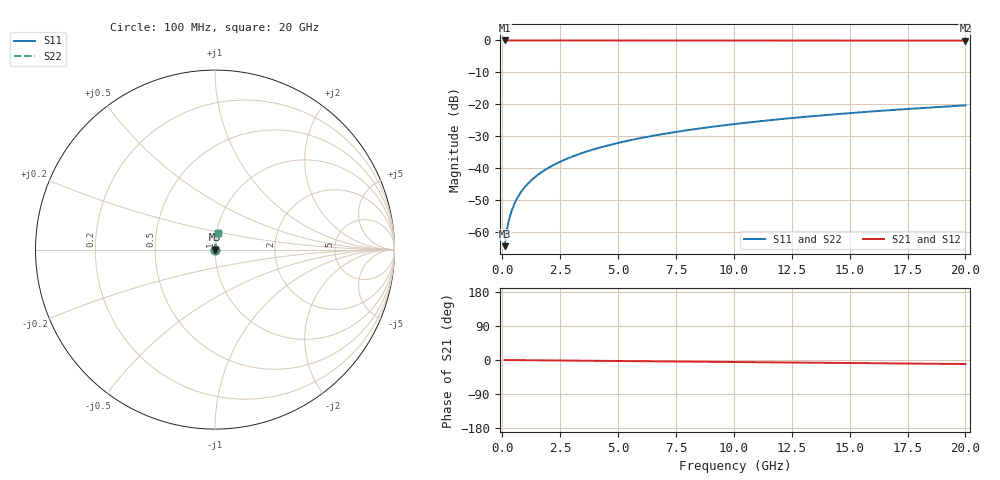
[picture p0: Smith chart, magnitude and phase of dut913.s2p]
! Touchstone file exported from HFSS 2026.1.0
!  File:  C:/ffzhzh/LocalFiles/Ansys_Project_Files/temp_train_TSV_913_1783186446_43440.aedt
!  Generated:  01:35:57 AM Jul  5, 2026
!  Design:  TSV
!  Project:  temp_train_TSV_913_1783186446_43440
! Variables:
!  h_bsmrdl = 2um
!  h_ox = 20um
!  h_rdl = 5um
!  h_sub = 85.38um
!  h_tmrdl = 5um
!  h_tsv = 85.38um
!  h_via = 3um
!  l_bsmrdl = 300um
!  l_sub = 412.72um
!  l_tmrdl = 200um
!  m_sub = 200um
!  pitch = 59.65um
!  r_tsv = 6.36um
!  s_tmrdl = 10um
!  w_bsmrdl = 18um
!  w_sub = 500um
!  w_tmrdl = 12um
!  x_tsv_center1 = 206um
!  x_tsv_center2 = 524um
!  x_tsv_center3 = 736um
!  x_tsv_center4 = 1054um
!  x_tsv_center5 = 1266um
!  x_tsv_center6 = 1584um
# GHz S MA R 50.000000
! Terminal data exported
! Port[1] = TSV1_1_T1
! Port[2] = TSV1_1_T2
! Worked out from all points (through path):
!   200 points, 100 MHz to 20 GHz, reference 50 ohm
!   highest |S21| = 0.00 dB at 100 MHz (marker M1); lowest = -0.1 dB at 20 GHz (marker M2)
!   group delay of S21, straight-line fit = 1.47 ps
!   lowest |S11| = -64.5 dB at 100 MHz (marker M3), VSWR 1.00, Z = 50 + j0.0527 ohm
!   |S11| at or under -10 dB: start of sweep to end of sweep
!   |S22| runs from -64.5 to -20.4 dB; largest |S21 - S12| = 5.2e-15
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0.1  0.0005939 62.5  0.9997 -0.1  0.9997 -0.1  0.0005939 62.5
! Gamma 0 0 0 0
! Port Impedance 50 0 50 0
0.2  0.00109 74.9  0.9997 -0.1  0.9997 -0.1  0.00109 74.9
0.3  0.001603 79.2  0.9997 -0.2  0.9997 -0.2  0.001603 79.2
0.4  0.002118 81.3  0.9997 -0.2  0.9997 -0.2  0.002118 81.3
0.5  0.002631 82.5  0.9997 -0.3  0.9997 -0.3  0.002631 82.5
0.6  0.003141 83.2  0.9996 -0.3  0.9996 -0.3  0.003141 83.2
0.7  0.003648 83.7  0.9996 -0.4  0.9996 -0.4  0.003648 83.7
0.8  0.004152 84.1  0.9996 -0.4  0.9996 -0.4  0.004152 84.1
1  0.005152 84.6  0.9995 -0.5  0.9995 -0.5  0.005152 84.6
1.4  0.007133 85.2  0.9995 -0.8  0.9995 -0.8  0.007133 85.2
1.7  0.00861 85.4  0.9994 -0.9  0.9994 -0.9  0.00861 85.4
2  0.01008 85.5  0.9993 -1.1  0.9993 -1.1  0.01008 85.5
2.7  0.01351 85.7  0.9992 -1.5  0.9992 -1.5  0.01351 85.7
3.5  0.01742 85.6  0.9991 -1.9  0.9991 -1.9  0.01742 85.6
4.2  0.02083 85.4  0.9989 -2.3  0.9989 -2.3  0.02083 85.4
5  0.02471 85.2  0.9988 -2.7  0.9988 -2.7  0.02471 85.2
6.8  0.03339 84.5  0.9984 -3.6  0.9984 -3.6  0.03339 84.5
8.3  0.04059 83.9  0.998 -4.4  0.998 -4.4  0.04059 83.9
10.1  0.04921 83.1  0.9975 -5.4  0.9975 -5.4  0.04921 83.1
13.4  0.0649 81.5  0.9964 -7.1  0.9964 -7.1  0.0649 81.5
16.7  0.08046 79.9  0.9951 -8.9  0.9951 -8.9  0.08046 79.9
20  0.09586 78.3  0.9936 -10.6  0.9936 -10.6  0.09586 78.3
